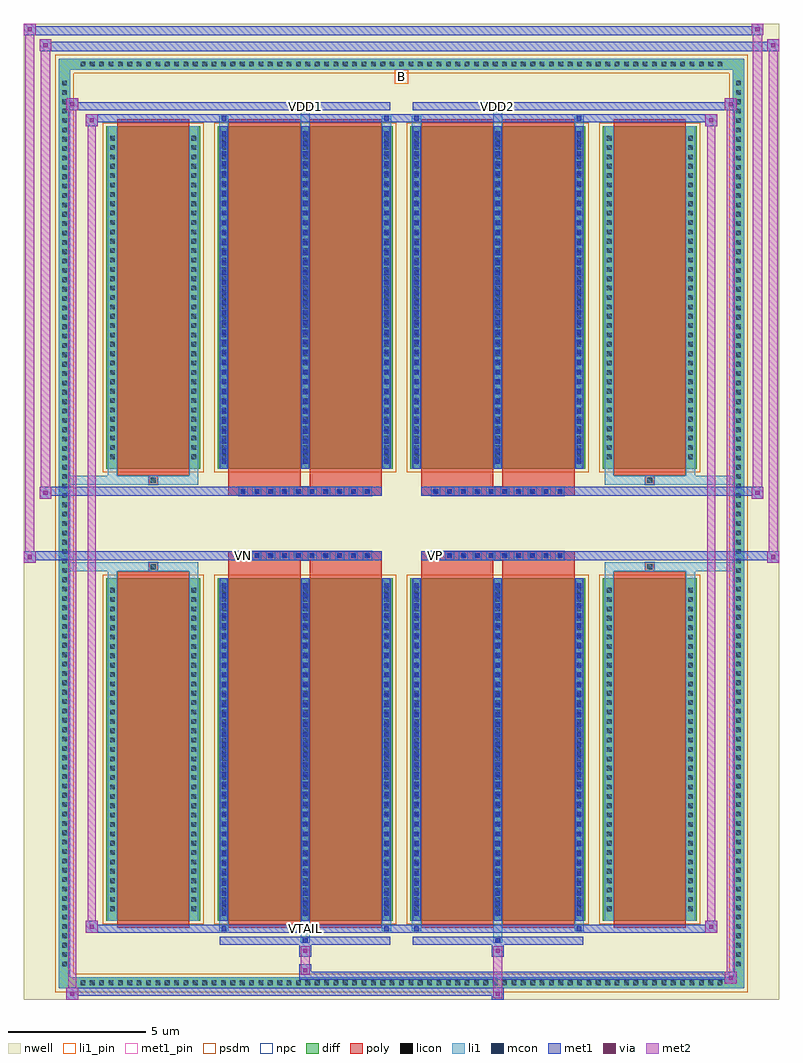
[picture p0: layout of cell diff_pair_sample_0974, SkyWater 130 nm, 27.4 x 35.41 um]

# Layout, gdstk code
import gdstk
lib = gdstk.Library(unit=1e-6, precision=5e-09)
def R(c, l, rs):  # rectangles x0, y0, x1, y1
    for r in rs: c.add(gdstk.rectangle(r[:2], r[2:], *l))
def A(c, l, x, y, w, h, nx, ny, dx, dy):  # array of equal rectangles
    R(c, l, [(x+i*dx, y+j*dy, x+i*dx+w, y+j*dy+h) for i in range(nx) for j in range(ny)])
def P(c, l, *ps):  # polygons
    for p in ps: c.add(gdstk.Polygon(p, *l))
nwell = (64, 20)
diff = (65, 20)
poly = (66, 20)
licon = (66, 44)
li1_pin = (67, 16)
li1 = (67, 20)
mcon = (67, 44)
met1_pin = (68, 16)
met1 = (68, 20)
via = (68, 44)
met2 = (69, 20)
psdm = (94, 20)
npc = (95, 20)

diff_pair_sample_0974 = lib.new_cell('diff_pair_sample_0974')
R(diff_pair_sample_0974, nwell, [(-13.7,-17.27,13.7,18.14), (-11.02,-15.46,-0.01,-0.8), (0.01,-15.46,11.02,-0.8), (-11.02,0.8,-0.01,15.46), (0.01,0.8,11.02,15.46)])
A(diff_pair_sample_0974, diff, -11.765, -16.87, 0.41, 0.41, 69, 2, 0.34, 33.33)
A(diff_pair_sample_0974, diff, -12.43, -16.185, 0.41, 0.41, 1, 95, 0, 0.34)
A(diff_pair_sample_0974, diff, 12.02, -16.185, 0.41, 0.41, 1, 95, 0, 0.34)
R(diff_pair_sample_0974, diff, [(-11.765,-16.87,11.765,-16.46), (-12.43,-16.185,-12.02,16.185), (12.02,-16.185,12.43,16.185), (-10.71,-14.415,-7.31,-1.985), (-6.67,-14.415,-0.32,-1.985), (0.32,-14.415,6.67,-1.985), (7.31,-14.415,10.71,-1.985), (-10.71,1.985,-7.31,14.415), (-6.67,1.985,-0.32,14.415), (0.32,1.985,6.67,14.415), (7.31,1.985,10.71,14.415), (-11.765,16.46,11.765,16.87)])
P(diff_pair_sample_0974, diff, [(12.43,16.87),(-12.43,16.87),(-12.43,-16.46),(-12.02,-16.46),(-12.02,16.46),(12.02,16.46),(12.02,-16.46),(-12.02,-16.46),(-12.43,-16.46),(-12.43,-16.87),(12.43,-16.87)])
A(diff_pair_sample_0974, poly, -5.91, -1.33, 0.33, 0.33, 10, 2, 0.5, 2.33)
A(diff_pair_sample_0974, poly, 1.08, -1.33, 0.33, 0.33, 10, 2, 0.5, 2.33)
R(diff_pair_sample_0974, poly, [(-10.32,-14.665,-7.7,-1.735), (-6.28,-14.665,-3.66,-1.735), (-3.33,-14.665,-0.71,-1.735), (0.71,-14.665,3.33,-1.735), (3.66,-14.665,6.28,-1.735), (7.7,-14.665,10.32,-1.735), (-9.175,-1.735,-8.845,-1.405), (-9.175,-1.735,-8.845,-1.405), (-6.28,-1.735,-3.66,-1.33), (-3.33,-1.735,-0.71,-1.33), (0.71,-1.735,3.33,-1.33), (3.66,-1.735,6.28,-1.33), (8.845,-1.735,9.175,-1.405), (8.845,-1.735,9.175,-1.405), (-6.28,-1.33,-0.71,-1), (0.71,-1.33,6.28,-1), (-6.28,1,-0.71,1.33), (0.71,1,6.28,1.33), (-6.28,1.33,-3.66,1.735), (-3.33,1.33,-0.71,1.735), (0.71,1.33,3.33,1.735), (3.66,1.33,6.28,1.735), (-9.175,1.405,-8.845,1.735), (-9.175,1.405,-8.845,1.735), (8.845,1.405,9.175,1.735), (8.845,1.405,9.175,1.735), (-10.32,1.735,-7.7,14.665), (-6.28,1.735,-3.66,14.665), (-3.33,1.735,-0.71,14.665), (0.71,1.735,3.33,14.665), (3.66,1.735,6.28,14.665), (7.7,1.735,10.32,14.665)])
A(diff_pair_sample_0974, licon, -11.645, -16.75, 0.17, 0.17, 69, 2, 0.34, 33.33)
A(diff_pair_sample_0974, licon, -12.31, -16.065, 0.17, 0.17, 1, 95, 0, 0.34)
A(diff_pair_sample_0974, licon, 12.14, -16.065, 0.17, 0.17, 1, 95, 0, 0.34)
A(diff_pair_sample_0974, licon, -10.57, -14.065, 0.17, 0.17, 1, 35, 0, 0.34)
A(diff_pair_sample_0974, licon, -7.62, -14.065, 0.17, 0.17, 1, 35, 0, 0.34)
A(diff_pair_sample_0974, licon, -6.53, -14.065, 0.17, 0.17, 3, 35, 2.95, 0.34)
A(diff_pair_sample_0974, licon, 0.46, -14.065, 0.17, 0.17, 3, 35, 2.95, 0.34)
A(diff_pair_sample_0974, licon, 7.45, -14.065, 0.17, 0.17, 1, 35, 0, 0.34)
A(diff_pair_sample_0974, licon, 10.4, -14.065, 0.17, 0.17, 1, 35, 0, 0.34)
A(diff_pair_sample_0974, licon, -5.83, -1.25, 0.17, 0.17, 10, 2, 0.5, 2.33)
A(diff_pair_sample_0974, licon, 1.16, -1.25, 0.17, 0.17, 10, 2, 0.5, 2.33)
A(diff_pair_sample_0974, licon, -10.57, 2.335, 0.17, 0.17, 1, 35, 0, 0.34)
A(diff_pair_sample_0974, licon, -7.62, 2.335, 0.17, 0.17, 1, 35, 0, 0.34)
A(diff_pair_sample_0974, licon, -6.53, 2.335, 0.17, 0.17, 3, 35, 2.95, 0.34)
A(diff_pair_sample_0974, licon, 0.46, 2.335, 0.17, 0.17, 3, 35, 2.95, 0.34)
A(diff_pair_sample_0974, licon, 7.45, 2.335, 0.17, 0.17, 1, 35, 0, 0.34)
A(diff_pair_sample_0974, licon, 10.4, 2.335, 0.17, 0.17, 1, 35, 0, 0.34)
R(diff_pair_sample_0974, licon, [(-9.095,-1.655,-8.925,-1.485), (8.925,-1.655,9.095,-1.485), (-9.095,1.485,-8.925,1.655), (8.925,1.485,9.095,1.655)])
R(diff_pair_sample_0974, li1_pin, [(-0.25,15.96,0.25,16.46)])
A(diff_pair_sample_0974, li1, -11.725, -16.83, 0.33, 0.33, 69, 2, 0.34, 33.33)
A(diff_pair_sample_0974, li1, -12.39, -16.145, 0.33, 0.33, 1, 95, 0, 0.34)
A(diff_pair_sample_0974, li1, 12.06, -16.145, 0.33, 0.33, 1, 95, 0, 0.34)
A(diff_pair_sample_0974, li1, -6.61, -14.415, 0.33, 12.43, 3, 2, 2.95, 16.4)
A(diff_pair_sample_0974, li1, 0.38, -14.415, 0.33, 12.43, 3, 2, 2.95, 16.4)
A(diff_pair_sample_0974, li1, -6.53, -14.225, 0.17, 0.17, 3, 34, 2.95, 0.36)
A(diff_pair_sample_0974, li1, -6.53, -14.225, 0.17, 12.05, 3, 2, 2.95, 16.4)
A(diff_pair_sample_0974, li1, 0.46, -14.225, 0.17, 0.17, 3, 34, 2.95, 0.36)
A(diff_pair_sample_0974, li1, 0.46, -14.225, 0.17, 12.05, 3, 2, 2.95, 16.4)
A(diff_pair_sample_0974, li1, -10.65, -14.145, 0.33, 0.33, 1, 35, 0, 0.34)
A(diff_pair_sample_0974, li1, -7.7, -14.145, 0.33, 0.33, 1, 35, 0, 0.34)
A(diff_pair_sample_0974, li1, -6.61, -14.145, 0.33, 0.33, 3, 35, 2.95, 0.34)
A(diff_pair_sample_0974, li1, 0.38, -14.145, 0.33, 0.33, 3, 35, 2.95, 0.34)
A(diff_pair_sample_0974, li1, 7.37, -14.145, 0.33, 0.33, 1, 35, 0, 0.34)
A(diff_pair_sample_0974, li1, 10.32, -14.145, 0.33, 0.33, 1, 35, 0, 0.34)
A(diff_pair_sample_0974, li1, -5.91, -1.33, 0.33, 0.33, 10, 2, 0.5, 2.33)
A(diff_pair_sample_0974, li1, 1.08, -1.33, 0.33, 0.33, 10, 2, 0.5, 2.33)
A(diff_pair_sample_0974, li1, -6.53, 2.175, 0.17, 0.17, 3, 34, 2.95, 0.36)
A(diff_pair_sample_0974, li1, 0.46, 2.175, 0.17, 0.17, 3, 34, 2.95, 0.36)
A(diff_pair_sample_0974, li1, -10.65, 2.255, 0.33, 0.33, 1, 35, 0, 0.34)
A(diff_pair_sample_0974, li1, -7.7, 2.255, 0.33, 0.33, 1, 35, 0, 0.34)
A(diff_pair_sample_0974, li1, -6.61, 2.255, 0.33, 0.33, 3, 35, 2.95, 0.34)
A(diff_pair_sample_0974, li1, 0.38, 2.255, 0.33, 0.33, 3, 35, 2.95, 0.34)
A(diff_pair_sample_0974, li1, 7.37, 2.255, 0.33, 0.33, 1, 35, 0, 0.34)
A(diff_pair_sample_0974, li1, 10.32, 2.255, 0.33, 0.33, 1, 35, 0, 0.34)
R(diff_pair_sample_0974, li1, [(-12.43,-16.87,-12.02,-16.46), (-12.43,-16.87,-12.02,-16.46), (-12.02,-16.87,12.02,-16.46), (12.02,-16.87,12.43,-16.46), (12.02,-16.87,12.43,-16.46), (-12.43,-16.46,-12.02,16.46), (12.02,-16.46,12.43,16.46), (-3.66,-15.22,-3.33,-14.415), (-3.58,-15.22,-3.41,-15.05), (3.33,-15.22,3.66,-14.415), (3.41,-15.22,3.58,-15.05), (-6.61,-14.79,-6.28,-14.415), (-6.53,-14.79,-6.36,-14.62), (-0.71,-14.79,-0.38,-14.415), (-0.63,-14.79,-0.46,-14.62), (0.38,-14.79,0.71,-14.415), (0.46,-14.79,0.63,-14.62), (6.28,-14.79,6.61,-14.415), (6.36,-14.79,6.53,-14.62), (-10.65,-14.415,-10.32,-1.985), (-7.7,-14.415,-7.37,-1.985), (7.37,-14.415,7.7,-1.985), (10.32,-14.415,10.65,-1.985), (-10.65,-1.985,-10.32,-1.405), (-7.7,-1.985,-7.37,-1.405), (7.37,-1.985,7.7,-1.405), (10.32,-1.985,10.65,-1.405), (-12.43,-1.735,-9.175,-1.405), (-10.65,-1.735,-9.175,-1.405), (-9.175,-1.735,-8.845,-1.405), (-8.845,-1.735,-7.37,-1.405), (7.37,-1.735,8.845,-1.405), (8.845,-1.735,9.175,-1.405), (8.845,-1.735,12.43,-1.405), (9.175,-1.735,10.65,-1.405), (-12.43,1.405,-9.175,1.735), (-10.65,1.405,-9.175,1.735), (-10.65,1.405,-10.32,1.985), (-9.175,1.405,-8.845,1.735), (-8.845,1.405,-7.37,1.735), (-7.7,1.405,-7.37,1.985), (7.37,1.405,8.845,1.735), (7.37,1.405,7.7,1.985), (8.845,1.405,9.175,1.735), (8.845,1.405,12.43,1.735), (9.175,1.405,10.65,1.735), (10.32,1.405,10.65,1.985), (-10.65,1.985,-10.32,14.415), (-7.7,1.985,-7.37,14.415), (7.37,1.985,7.7,14.415), (10.32,1.985,10.65,14.415), (-6.61,14.415,-6.28,14.79), (-3.66,14.415,-3.33,15.22), (-0.71,14.415,-0.38,14.79), (0.38,14.415,0.71,14.79), (3.33,14.415,3.66,15.22), (6.28,14.415,6.61,14.79), (-6.53,14.62,-6.36,14.79), (-0.63,14.62,-0.46,14.79), (0.46,14.62,0.63,14.79), (6.36,14.62,6.53,14.79), (-3.58,15.05,-3.41,15.22), (3.41,15.05,3.58,15.22), (-12.43,16.46,-12.02,16.87), (-12.43,16.46,-12.02,16.87), (-12.02,16.46,12.02,16.87), (12.02,16.46,12.43,16.87), (12.02,16.46,12.43,16.87)])
A(diff_pair_sample_0974, mcon, -6.53, -14.225, 0.17, 0.17, 3, 34, 2.95, 0.36)
A(diff_pair_sample_0974, mcon, 0.46, -14.225, 0.17, 0.17, 3, 34, 2.95, 0.36)
A(diff_pair_sample_0974, mcon, -5.83, -1.25, 0.17, 0.17, 10, 2, 0.5, 2.33)
A(diff_pair_sample_0974, mcon, 1.16, -1.25, 0.17, 0.17, 10, 2, 0.5, 2.33)
A(diff_pair_sample_0974, mcon, -6.53, 2.175, 0.17, 0.17, 3, 34, 2.95, 0.36)
A(diff_pair_sample_0974, mcon, 0.46, 2.175, 0.17, 0.17, 3, 34, 2.95, 0.36)
R(diff_pair_sample_0974, mcon, [(-3.58,-15.22,-3.41,-15.05), (3.41,-15.22,3.58,-15.05), (-6.53,-14.79,-6.36,-14.62), (-0.63,-14.79,-0.46,-14.62), (0.46,-14.79,0.63,-14.62), (6.36,-14.79,6.53,-14.62), (-6.53,14.62,-6.36,14.79), (-0.63,14.62,-0.46,14.79), (0.46,14.62,0.63,14.79), (6.36,14.62,6.53,14.79), (-3.58,15.05,-3.41,15.22), (3.41,15.05,3.58,15.22)])
R(diff_pair_sample_0974, met1_pin, [(-3.63,-14.83,-3.36,-14.56), (-5.88,-1.29,-5.61,-1.02), (1.11,-1.29,1.38,-1.02), (-3.63,15.01,-3.36,15.28), (3.36,15.01,3.63,15.28)])
A(diff_pair_sample_0974, met1, -6.59, -14.415, 0.29, 12.43, 3, 2, 2.95, 16.4)
A(diff_pair_sample_0974, met1, 0.4, -14.415, 0.29, 12.43, 3, 2, 2.95, 16.4)
A(diff_pair_sample_0974, met1, -6.59, -14.285, 0.29, 0.29, 3, 34, 2.95, 0.36)
A(diff_pair_sample_0974, met1, 0.4, -14.285, 0.29, 0.29, 3, 34, 2.95, 0.36)
A(diff_pair_sample_0974, met1, -5.89, -1.31, 0.29, 0.29, 10, 2, 0.5, 2.33)
A(diff_pair_sample_0974, met1, 1.1, -1.31, 0.29, 0.29, 10, 2, 0.5, 2.33)
A(diff_pair_sample_0974, met1, -6.59, 2.115, 0.29, 0.29, 3, 34, 2.95, 0.36)
A(diff_pair_sample_0974, met1, 0.4, 2.115, 0.29, 0.29, 3, 34, 2.95, 0.36)
R(diff_pair_sample_0974, met1, [(-12.16,-17.27,-11.73,-16.84), (3.28,-17.27,3.71,-16.84), (-12.16,-17.13,3.71,-16.84), (11.73,-16.7,12.16,-16.27), (-3.71,-16.56,12.16,-16.27), (-3.71,-16.42,-3.28,-15.99), (-3.71,-15.71,-3.28,-15.28), (3.28,-15.71,3.71,-15.28), (-6.59,-15.28,-0.4,-14.99), (-3.64,-15.28,-3.35,-14.99), (0.4,-15.28,6.59,-14.99), (3.35,-15.28,3.64,-14.99), (-11.45,-14.85,-11.02,-14.42), (-11.45,-14.85,-6.59,-14.56), (-6.59,-14.85,-6.3,-14.56), (-6.59,-14.85,-0.4,-14.56), (-0.69,-14.85,-0.4,-14.56), (-0.4,-14.85,0.4,-14.56), (0.4,-14.85,0.69,-14.56), (0.4,-14.85,6.59,-14.56), (6.3,-14.85,6.59,-14.56), (6.59,-14.85,11.45,-14.56), (11.02,-14.85,11.45,-14.42), (-13.7,-1.43,-13.27,-1), (13.27,-1.43,13.7,-1), (-13.7,-1.33,-0.71,-1), (-6.28,-1.33,-0.71,-1), (0.71,-1.33,6.28,-1), (0.71,-1.33,13.7,-1), (-13.13,0.9,-12.7,1.33), (12.7,0.9,13.13,1.33), (-13.13,1,-6.28,1.33), (-6.28,1,-0.71,1.33), (0.71,1,6.28,1.33), (6.28,1,13.13,1.33), (-11.45,14.42,-11.02,14.85), (11.02,14.42,11.45,14.85), (-11.45,14.56,-6.59,14.85), (-6.59,14.56,-6.3,14.85), (-6.59,14.56,-0.4,14.85), (-0.69,14.56,-0.4,14.85), (-0.4,14.56,0.4,14.85), (0.4,14.56,0.69,14.85), (0.4,14.56,6.59,14.85), (6.3,14.56,6.59,14.85), (6.59,14.56,11.45,14.85), (-12.16,14.99,-11.73,15.42), (-12.16,14.99,-6.59,15.28), (-6.59,14.99,-0.4,15.28), (-3.64,14.99,-3.35,15.28), (0.4,14.99,6.59,15.28), (3.35,14.99,3.64,15.28), (6.59,14.99,12.16,15.28), (11.73,14.99,12.16,15.42), (-13.13,17.14,-12.7,17.57), (-13.13,17.14,-11.02,17.47), (-11.02,17.14,11.02,17.47), (11.02,17.14,13.7,17.47), (13.27,17.14,13.7,17.57), (-13.7,17.71,-13.27,18.14), (-13.7,17.71,-11.02,18.04), (-11.02,17.71,11.02,18.04), (11.02,17.71,13.13,18.04), (12.7,17.71,13.13,18.14)])
R(diff_pair_sample_0974, via, [(-12.02,-17.13,-11.87,-16.98), (3.42,-17.13,3.57,-16.98), (11.87,-16.56,12.02,-16.41), (-3.57,-16.28,-3.42,-16.13), (-3.57,-15.57,-3.42,-15.42), (3.42,-15.57,3.57,-15.42), (-11.31,-14.71,-11.16,-14.56), (11.16,-14.71,11.31,-14.56), (-13.56,-1.29,-13.41,-1.14), (13.41,-1.29,13.56,-1.14), (-12.99,1.04,-12.84,1.19), (12.84,1.04,12.99,1.19), (-11.31,14.56,-11.16,14.71), (11.16,14.56,11.31,14.71), (-12.02,15.13,-11.87,15.28), (11.87,15.13,12.02,15.28), (-12.99,17.28,-12.84,17.43), (13.41,17.28,13.56,17.43), (-13.56,17.85,-13.41,18), (12.84,17.85,12.99,18)])
R(diff_pair_sample_0974, met2, [(-12.16,-17.27,-11.73,-16.84), (-12.09,-17.27,-11.8,15.42), (-11.8,-17.27,-11.73,-16.84), (-12.11,-17.22,-11.78,-16.89), (3.33,-17.22,3.66,-16.89), (3.33,-16.89,3.66,-15.66), (11.73,-16.7,12.16,-16.27), (11.8,-16.7,12.09,15.42), (12.09,-16.7,12.16,-16.27), (11.78,-16.65,12.11,-16.32), (-3.66,-16.37,-3.33,-16.04), (-3.66,-16.04,-3.33,-15.66), (-3.66,-15.66,-3.33,-15.33), (3.33,-15.66,3.66,-15.33), (-11.45,-14.85,-11.02,-14.42), (-11.38,-14.85,-11.09,14.85), (-11.09,-14.85,-11.02,-14.42), (11.02,-14.85,11.45,-14.42), (11.09,-14.85,11.38,14.85), (11.38,-14.85,11.45,-14.42), (-11.4,-14.8,-11.07,-14.47), (11.07,-14.8,11.4,-14.47), (-13.7,-1.43,-13.27,-1), (-13.65,-1.43,-13.32,18.14), (-13.32,-1.43,-13.27,-1), (13.27,-1.43,13.7,-1), (13.32,-1.43,13.65,17.57), (13.65,-1.43,13.7,-1), (-13.65,-1.38,-13.32,-1.05), (13.32,-1.38,13.65,-1.05), (-13.13,0.9,-12.7,1.33), (-13.08,0.9,-12.75,17.57), (-12.75,0.9,-12.7,1.33), (12.7,0.9,13.13,1.33), (12.75,0.9,13.08,18.14), (13.08,0.9,13.13,1.33), (-13.08,0.95,-12.75,1.28), (12.75,0.95,13.08,1.28), (-11.45,14.42,-11.02,14.85), (-11.09,14.42,-11.02,14.85), (11.02,14.42,11.45,14.85), (11.38,14.42,11.45,14.85), (-11.4,14.47,-11.07,14.8), (11.07,14.47,11.4,14.8), (-12.16,14.99,-11.73,15.42), (-11.8,14.99,-11.73,15.42), (11.73,14.99,12.16,15.42), (12.09,14.99,12.16,15.42), (-12.11,15.04,-11.78,15.37), (11.78,15.04,12.11,15.37), (-13.13,17.14,-12.7,17.57), (-12.75,17.14,-12.7,17.57), (13.27,17.14,13.7,17.57), (13.65,17.14,13.7,17.57), (-13.08,17.19,-12.75,17.52), (13.32,17.19,13.65,17.52), (-13.7,17.71,-13.27,18.14), (-13.32,17.71,-13.27,18.14), (12.7,17.71,13.13,18.14), (13.08,17.71,13.13,18.14), (-13.65,17.76,-13.32,18.09), (12.75,17.76,13.08,18.09)])
R(diff_pair_sample_0974, psdm, [(-10.84,-14.545,-7.18,-1.855), (-6.8,-14.545,-0.19,-1.855), (0.19,-14.545,6.8,-1.855), (7.18,-14.545,10.84,-1.855), (-10.84,1.855,-7.18,14.545), (-6.8,1.855,-0.19,14.545), (0.19,1.855,6.8,14.545), (7.18,1.855,10.84,14.545)])
P(diff_pair_sample_0974, psdm, [(12.56,17),(-12.56,17),(-12.56,-16.33),(-11.89,-16.33),(-11.89,16.33),(11.89,16.33),(11.89,-16.33),(-11.89,-16.33),(-12.56,-16.33),(-12.56,-17),(12.56,-17)])
A(diff_pair_sample_0974, npc, -5.93, -1.35, 0.37, 0.37, 10, 2, 0.5, 2.33)
A(diff_pair_sample_0974, npc, 1.06, -1.35, 0.37, 0.37, 10, 2, 0.5, 2.33)
R(diff_pair_sample_0974, npc, [(-9.195,-1.755,-8.825,-1.385), (8.825,-1.755,9.195,-1.385), (-5.93,-1.35,-5.06,-0.98), (-5.93,-1.35,-5.06,-0.98), (-5.43,-1.35,-4.56,-0.98), (-5.43,-1.35,-4.56,-0.98), (-4.93,-1.35,-4.06,-0.98), (-4.93,-1.35,-4.06,-0.98), (-4.43,-1.35,-3.56,-0.98), (-4.43,-1.35,-3.56,-0.98), (-3.93,-1.35,-3.06,-0.98), (-3.93,-1.35,-3.06,-0.98), (-3.43,-1.35,-2.56,-0.98), (-3.43,-1.35,-2.56,-0.98), (-2.93,-1.35,-2.06,-0.98), (-2.93,-1.35,-2.06,-0.98), (-2.43,-1.35,-1.56,-0.98), (-2.43,-1.35,-1.56,-0.98), (-1.93,-1.35,-1.06,-0.98), (-1.93,-1.35,-1.06,-0.98), (1.06,-1.35,1.93,-0.98), (1.06,-1.35,1.93,-0.98), (1.56,-1.35,2.43,-0.98), (1.56,-1.35,2.43,-0.98), (2.06,-1.35,2.93,-0.98), (2.06,-1.35,2.93,-0.98), (2.56,-1.35,3.43,-0.98), (2.56,-1.35,3.43,-0.98), (3.06,-1.35,3.93,-0.98), (3.06,-1.35,3.93,-0.98), (3.56,-1.35,4.43,-0.98), (3.56,-1.35,4.43,-0.98), (4.06,-1.35,4.93,-0.98), (4.06,-1.35,4.93,-0.98), (4.56,-1.35,5.43,-0.98), (4.56,-1.35,5.43,-0.98), (5.06,-1.35,5.93,-0.98), (5.06,-1.35,5.93,-0.98), (-5.93,0.98,-5.06,1.35), (-5.93,0.98,-5.06,1.35), (-5.43,0.98,-4.56,1.35), (-5.43,0.98,-4.56,1.35), (-4.93,0.98,-4.06,1.35), (-4.93,0.98,-4.06,1.35), (-4.43,0.98,-3.56,1.35), (-4.43,0.98,-3.56,1.35), (-3.93,0.98,-3.06,1.35), (-3.93,0.98,-3.06,1.35), (-3.43,0.98,-2.56,1.35), (-3.43,0.98,-2.56,1.35), (-2.93,0.98,-2.06,1.35), (-2.93,0.98,-2.06,1.35), (-2.43,0.98,-1.56,1.35), (-2.43,0.98,-1.56,1.35), (-1.93,0.98,-1.06,1.35), (-1.93,0.98,-1.06,1.35), (1.06,0.98,1.93,1.35), (1.06,0.98,1.93,1.35), (1.56,0.98,2.43,1.35), (1.56,0.98,2.43,1.35), (2.06,0.98,2.93,1.35), (2.06,0.98,2.93,1.35), (2.56,0.98,3.43,1.35), (2.56,0.98,3.43,1.35), (3.06,0.98,3.93,1.35), (3.06,0.98,3.93,1.35), (3.56,0.98,4.43,1.35), (3.56,0.98,4.43,1.35), (4.06,0.98,4.93,1.35), (4.06,0.98,4.93,1.35), (4.56,0.98,5.43,1.35), (4.56,0.98,5.43,1.35), (5.06,0.98,5.93,1.35), (5.06,0.98,5.93,1.35), (-9.195,1.385,-8.825,1.755), (8.825,1.385,9.195,1.755)])
diff_pair_sample_0974.add(gdstk.Label('VTAIL', (-3.495,-14.695), layer=68, texttype=5))
diff_pair_sample_0974.add(gdstk.Label('VN', (-5.745,-1.155), layer=68, texttype=5))
diff_pair_sample_0974.add(gdstk.Label('VP', (1.245,-1.155), layer=68, texttype=5))
diff_pair_sample_0974.add(gdstk.Label('B', (0,16.21), layer=67, texttype=5))
diff_pair_sample_0974.add(gdstk.Label('VDD2', (3.495,15.145), layer=68, texttype=5))
diff_pair_sample_0974.add(gdstk.Label('VDD1', (-3.495,15.145), layer=68, texttype=5))

lib.write_gds('diff_pair_sample_0974.gds')
